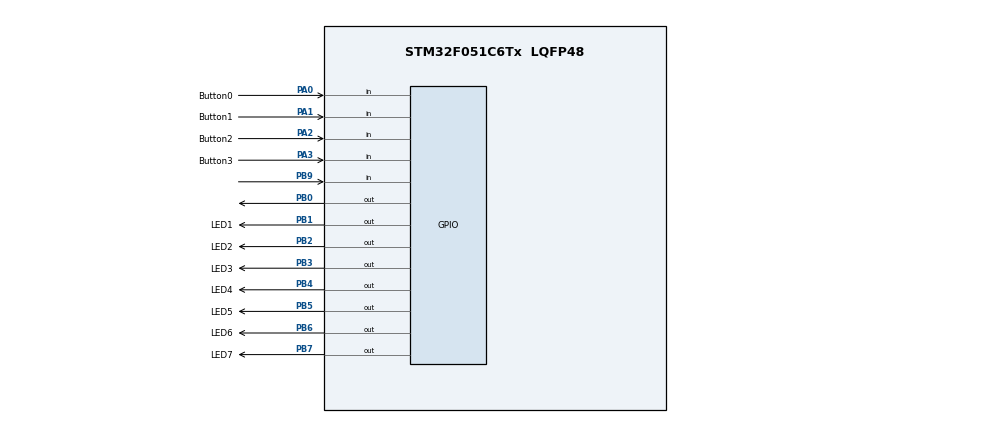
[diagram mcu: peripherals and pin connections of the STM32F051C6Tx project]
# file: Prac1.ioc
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Mcu.Family=STM32F0
Mcu.Name=STM32F051C6Tx
Mcu.Package=LQFP48
PA0.GPIO_Label=Button0
PA0.GPIO_PuPd=GPIO_PULLUP
PA0.Signal=GPIO_Input
PA1.GPIO_Label=Button1
PA1.GPIO_PuPd=GPIO_PULLUP
PA1.Signal=GPIO_Input
PA13.Mode=Serial_Wire
PA13.Signal=SYS_SWDIO
PA14.Mode=Serial_Wire
PA14.Signal=SYS_SWCLK
PA2.GPIO_Label=Button2
PA2.GPIO_PuPd=GPIO_PULLUP
PA2.Signal=GPIO_Input
PA3.GPIO_Label=Button3
PA3.GPIO_PuPd=GPIO_PULLUP
PA3.Signal=GPIO_Input
PB0.Signal=GPIO_Output
PB1.GPIO_Label=LED1
PB1.Signal=GPIO_Output
PB2.GPIO_Label=LED2
PB2.Signal=GPIO_Output
PB3.GPIO_Label=LED3
PB3.Signal=GPIO_Output
PB4.GPIO_Label=LED4
PB4.Signal=GPIO_Output
PB5.GPIO_Label=LED5
PB5.Signal=GPIO_Output
PB6.GPIO_Label=LED6
PB6.Signal=GPIO_Output
PB7.GPIO_Label=LED7
PB7.Signal=GPIO_Output
PB9.Signal=GPIO_Input
PF0-OSC_IN.Mode=HSE-External-Oscillator
PF0-OSC_IN.Signal=RCC_OSC_IN
PF1-OSC_OUT.Mode=HSE-External-Oscillator
PF1-OSC_OUT.Signal=RCC_OSC_OUT
ProjectManager.HeapSize=0x200
ProjectManager.StackSize=0x400
ProjectManager.TargetToolchain=STM32CubeIDE
TIM16.AutoReloadPreload=TIM_AUTORELOAD_PRELOAD_ENABLE
TIM16.Period=1000-1
TIM16.Prescaler=8000-1
VP_TIM16_VS_ClockSourceINT.Mode=Enable_Timer
board=custom

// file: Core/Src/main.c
/* USER CODE BEGIN Header */
/**
  ******************************************************************************
  * @file           : main.c
  * @brief          : Main program body
  ******************************************************************************
  * @attention
  *
  * Copyright (c) 2023 STMicroelectronics.
  * All rights reserved.
  *
  * This software is licensed under terms that can be found in the LICENSE file
  * in the root directory of this software component.
  * If no LICENSE file comes with this software, it is provided AS-IS.
  *
  ******************************************************************************
  */
/* USER CODE END Header */
#include "main.h"

/* USER CODE BEGIN Includes */
#include <stdint.h>
#include "stm32f0xx.h"
/* USER CODE END Includes */

TIM_HandleTypeDef htim16;

/* USER CODE BEGIN PV */
// TODO: Define input variables
// Define led patterns as 8 bit numbers
int patternNumber = 1;
const uint8_t PATERN_1 = 0b11101001;
const uint8_t PATERN_2 = 0b11010010;
const uint8_t PATERN_3 = 0b10100100;
const uint8_t PATERN_4 = 0b01001000;
const uint8_t PATERN_5 = 0b10010000;
const uint8_t PATERN_6 = 0b00100000;
const uint8_t PATERN_7 = 0b01000000;
const uint8_t PATERN_8 = 0b10000000;
const uint8_t PATERN_9 = 0b00000000;

// Define ARR values to be used for different time settings
const int TIME_05 = 499;
const int TIME_1 = 999;
const int TIME_2 = 1999;

/* USER CODE END PV */

void SystemClock_Config(void);
static void MX_GPIO_Init(void);
static void MX_TIM16_Init(void);
/* USER CODE BEGIN PFP */
void TIM16_IRQHandler(void);
/* USER CODE END PFP */

int main(void)
{

  /* MCU Configuration--------------------------------------------------------*/

  /* Reset of all peripherals, Initializes the Flash interface and the Systick. */
  HAL_Init();

  /* Configure the system clock */
  SystemClock_Config();

  /* Initialize all configured peripherals */
  MX_GPIO_Init();
  MX_TIM16_Init();
  /* USER CODE BEGIN 2 */

  // TODO: Start timer TIM16
  HAL_TIM_Base_Start_IT(&htim16);

  /* USER CODE END 2 */

  /* Infinite loop */
  while (1)
  {

    /* USER CODE BEGIN 3 */

    // TODO: Check pushbuttons to change timer delay
	 if (HAL_GPIO_ReadPin(GPIOA, Button0) == GPIO_PIN_SET) {
	          __HAL_TIM_SET_AUTORELOAD(&htim16, TIME_05);
	      }
	 if (HAL_GPIO_ReadPin(GPIOA, Button1) == GPIO_PIN_SET) {
	 	          __HAL_TIM_SET_AUTORELOAD(&htim16, TIME_1);
	 	      }
	 if (HAL_GPIO_ReadPin(GPIOA, Button2) == GPIO_PIN_SET) {
	 	          __HAL_TIM_SET_AUTORELOAD(&htim16, TIME_2);
	 	      }

  }
  /* USER CODE END 3 */
}

void SystemClock_Config(void)
{
  LL_FLASH_SetLatency(LL_FLASH_LATENCY_0);
  while(LL_FLASH_GetLatency() != LL_FLASH_LATENCY_0)
  {
  }
  LL_RCC_HSI_Enable();

   /* Wait till HSI is ready */
  while(LL_RCC_HSI_IsReady() != 1)
  {

  }
  LL_RCC_HSI_SetCalibTrimming(16);
  LL_RCC_SetAHBPrescaler(LL_RCC_SYSCLK_DIV_1);
  LL_RCC_SetAPB1Prescaler(LL_RCC_APB1_DIV_1);
  LL_RCC_SetSysClkSource(LL_RCC_SYS_CLKSOURCE_HSI);

   /* Wait till System clock is ready */
  while(LL_RCC_GetSysClkSource() != LL_RCC_SYS_CLKSOURCE_STATUS_HSI)
  {

  }
  LL_SetSystemCoreClock(8000000);

   /* Update the time base */
  if (HAL_InitTick (TICK_INT_PRIORITY) != HAL_OK)
  {
    Error_Handler();
  }
}

static void MX_TIM16_Init(void)
{

  htim16.Instance = TIM16;
  htim16.Init.Prescaler = 8000-1;
  htim16.Init.CounterMode = TIM_COUNTERMODE_UP;
  htim16.Init.Period = 1000-1;
  htim16.Init.ClockDivision = TIM_CLOCKDIVISION_DIV1;
  htim16.Init.RepetitionCounter = 0;
  htim16.Init.AutoReloadPreload = TIM_AUTORELOAD_PRELOAD_ENABLE;
  if (HAL_TIM_Base_Init(&htim16) != HAL_OK)
  {
    Error_Handler();
  }
  /* USER CODE BEGIN TIM16_Init 2 */
  NVIC_EnableIRQ(TIM16_IRQn);
  /* USER CODE END TIM16_Init 2 */

}

static void MX_GPIO_Init(void)
{
  LL_GPIO_InitTypeDef GPIO_InitStruct = {0};

  /* GPIO Ports Clock Enable */
  LL_AHB1_GRP1_EnableClock(LL_AHB1_GRP1_PERIPH_GPIOF);
  LL_AHB1_GRP1_EnableClock(LL_AHB1_GRP1_PERIPH_GPIOA);
  LL_AHB1_GRP1_EnableClock(LL_AHB1_GRP1_PERIPH_GPIOB);

  /**/
  LL_GPIO_ResetOutputPin(LED0_GPIO_Port, LED0_Pin);

  /**/
  LL_GPIO_ResetOutputPin(LED1_GPIO_Port, LED1_Pin);

  /**/
  LL_GPIO_ResetOutputPin(LED2_GPIO_Port, LED2_Pin);

  /**/
  LL_GPIO_ResetOutputPin(LED3_GPIO_Port, LED3_Pin);

  /**/
  LL_GPIO_ResetOutputPin(LED4_GPIO_Port, LED4_Pin);

  /**/
  LL_GPIO_ResetOutputPin(LED5_GPIO_Port, LED5_Pin);

  /**/
  LL_GPIO_ResetOutputPin(LED6_GPIO_Port, LED6_Pin);

  /**/
  LL_GPIO_ResetOutputPin(LED7_GPIO_Port, LED7_Pin);

  /**/
  GPIO_InitStruct.Pin = Button0_Pin;
  GPIO_InitStruct.Mode = LL_GPIO_MODE_INPUT;
  GPIO_InitStruct.Pull = LL_GPIO_PULL_UP;
  LL_GPIO_Init(Button0_GPIO_Port, &GPIO_InitStruct);

  /**/
  GPIO_InitStruct.Pin = Button1_Pin;
  GPIO_InitStruct.Mode = LL_GPIO_MODE_INPUT;
  GPIO_InitStruct.Pull = LL_GPIO_PULL_UP;
  LL_GPIO_Init(Button1_GPIO_Port, &GPIO_InitStruct);

  /**/
  GPIO_InitStruct.Pin = Button2_Pin;
  GPIO_InitStruct.Mode = LL_GPIO_MODE_INPUT;
  GPIO_InitStruct.Pull = LL_GPIO_PULL_UP;
  LL_GPIO_Init(Button2_GPIO_Port, &GPIO_InitStruct);

  /**/
  GPIO_InitStruct.Pin = Button3_Pin;
  GPIO_InitStruct.Mode = LL_GPIO_MODE_INPUT;
  GPIO_InitStruct.Pull = LL_GPIO_PULL_UP;
  LL_GPIO_Init(Button3_GPIO_Port, &GPIO_InitStruct);

  /**/
  GPIO_InitStruct.Pin = LED0_Pin;
  GPIO_InitStruct.Mode = LL_GPIO_MODE_OUTPUT;
  GPIO_InitStruct.Speed = LL_GPIO_SPEED_FREQ_LOW;
  GPIO_InitStruct.OutputType = LL_GPIO_OUTPUT_PUSHPULL;
  GPIO_InitStruct.Pull = LL_GPIO_PULL_NO;
  LL_GPIO_Init(LED0_GPIO_Port, &GPIO_InitStruct);

  /**/
  GPIO_InitStruct.Pin = LED1_Pin;
  GPIO_InitStruct.Mode = LL_GPIO_MODE_OUTPUT;
  GPIO_InitStruct.Speed = LL_GPIO_SPEED_FREQ_LOW;
  GPIO_InitStruct.OutputType = LL_GPIO_OUTPUT_PUSHPULL;
  GPIO_InitStruct.Pull = LL_GPIO_PULL_NO;
  LL_GPIO_Init(LED1_GPIO_Port, &GPIO_InitStruct);

  /**/
  GPIO_InitStruct.Pin = LED2_Pin;
  GPIO_InitStruct.Mode = LL_GPIO_MODE_OUTPUT;
  GPIO_InitStruct.Speed = LL_GPIO_SPEED_FREQ_LOW;
  GPIO_InitStruct.OutputType = LL_GPIO_OUTPUT_PUSHPULL;
  GPIO_InitStruct.Pull = LL_GPIO_PULL_NO;
  LL_GPIO_Init(LED2_GPIO_Port, &GPIO_InitStruct);

  /**/
  GPIO_InitStruct.Pin = LED3_Pin;
  GPIO_InitStruct.Mode = LL_GPIO_MODE_OUTPUT;
  GPIO_InitStruct.Speed = LL_GPIO_SPEED_FREQ_LOW;
  GPIO_InitStruct.OutputType = LL_GPIO_OUTPUT_PUSHPULL;
  GPIO_InitStruct.Pull = LL_GPIO_PULL_NO;
  LL_GPIO_Init(LED3_GPIO_Port, &GPIO_InitStruct);

  /**/
  GPIO_InitStruct.Pin = LED4_Pin;
  GPIO_InitStruct.Mode = LL_GPIO_MODE_OUTPUT;
  GPIO_InitStruct.Speed = LL_GPIO_SPEED_FREQ_LOW;
  GPIO_InitStruct.OutputType = LL_GPIO_OUTPUT_PUSHPULL;
  GPIO_InitStruct.Pull = LL_GPIO_PULL_NO;
  LL_GPIO_Init(LED4_GPIO_Port, &GPIO_InitStruct);

  /**/
  GPIO_InitStruct.Pin = LED5_Pin;
  GPIO_InitStruct.Mode = LL_GPIO_MODE_OUTPUT;
  GPIO_InitStruct.Speed = LL_GPIO_SPEED_FREQ_LOW;
  GPIO_InitStruct.OutputType = LL_GPIO_OUTPUT_PUSHPULL;
  GPIO_InitStruct.Pull = LL_GPIO_PULL_NO;
  LL_GPIO_Init(LED5_GPIO_Port, &GPIO_InitStruct);

  /**/
  GPIO_InitStruct.Pin = LED6_Pin;
  GPIO_InitStruct.Mode = LL_GPIO_MODE_OUTPUT;
  GPIO_InitStruct.Speed = LL_GPIO_SPEED_FREQ_LOW;
  GPIO_InitStruct.OutputType = LL_GPIO_OUTPUT_PUSHPULL;
  GPIO_InitStruct.Pull = LL_GPIO_PULL_NO;
  LL_GPIO_Init(LED6_GPIO_Port, &GPIO_InitStruct);

  /**/
  GPIO_InitStruct.Pin = LED7_Pin;
  GPIO_InitStruct.Mode = LL_GPIO_MODE_OUTPUT;
  GPIO_InitStruct.Speed = LL_GPIO_SPEED_FREQ_LOW;
  GPIO_InitStruct.OutputType = LL_GPIO_OUTPUT_PUSHPULL;
  GPIO_InitStruct.Pull = LL_GPIO_PULL_NO;
  LL_GPIO_Init(LED7_GPIO_Port, &GPIO_InitStruct);

  /**/
  GPIO_InitStruct.Pin = LL_GPIO_PIN_9;
  GPIO_InitStruct.Mode = LL_GPIO_MODE_INPUT;
  GPIO_InitStruct.Pull = LL_GPIO_PULL_NO;
  LL_GPIO_Init(GPIOB, &GPIO_InitStruct);

}

/* USER CODE BEGIN 4 */

// Timer rolled over
void TIM16_IRQHandler(void)
{
	// Acknowledge interrupt
	HAL_TIM_IRQHandler(&htim16);

	// TODO: Change LED pattern
	if(patternNumber == 1){
		GPIOB -> ODR = PATTERN_1;
	}
	if(patternNumber == 1){
		GPIOB -> ODR = PATTERN_1;
	}
	if(patternNumber == 1){
		GPIOB -> ODR = PATTERN_1;
	}
	if(patternNumber == 1){
		GPIOB -> ODR = PATTERN_1;
	}
	if(patternNumber == 1){
		GPIOB -> ODR = PATTERN_1;
	}
	if(patternNumber == 1){
		GPIOB -> ODR = PATTERN_1;
	}
	if(patternNumber == 1){
		GPIOB -> ODR = PATTERN_1;
	}
	if(patternNumber == 1){
		GPIOB -> ODR = PATTERN_1;
	}
	if(patternNumber == 1){
		GPIOB -> ODR = PATTERN_1;
	}

}

/* USER CODE END 4 */

void Error_Handler(void)
{
  __disable_irq();
  while (1)
  {
  }
}
